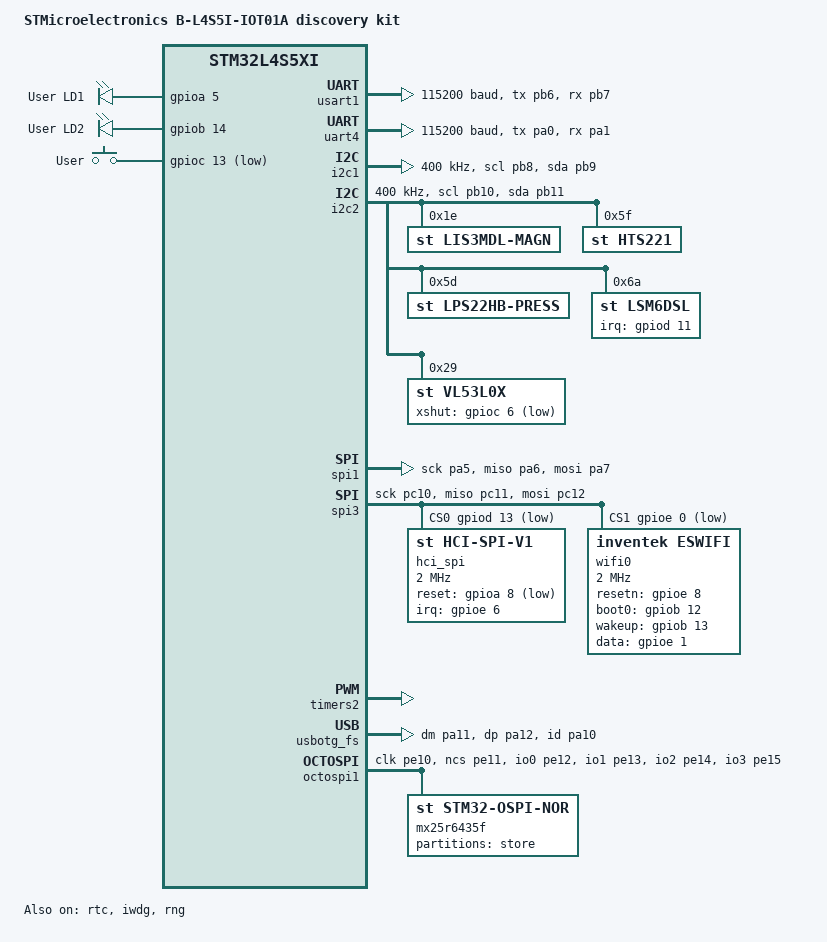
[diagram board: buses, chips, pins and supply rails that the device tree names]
/*
 * Copyright (c) 2020 STMicroelectronics
 *
 * SPDX-License-Identifier: Apache-2.0
 */

/dts-v1/;
#include <st/l4/stm32l4s5Xi.dtsi>
#include <st/l4/stm32l4s5vitx-pinctrl.dtsi>
#include "arduino_r3_connector.dtsi"
#include <zephyr/dt-bindings/input/input-event-codes.h>

/ {
	model = "STMicroelectronics B-L4S5I-IOT01A discovery kit";
	compatible = "st,b-l4s5i-iot01a";

	chosen {
		zephyr,console = &usart1;
		zephyr,shell-uart = &usart1;
		zephyr,sram = &sram0;
		zephyr,flash = &flash0;
		zephyr,code-partition = &slot0_partition;
		zephyr,flash-controller = &mx25r6435f;
		zephyr,bt-c2h-uart = &usart1;
		zephyr,bt-hci = &hci_spi;
	};

	leds {
		compatible = "gpio-leds";
		green_led_1: led_1 {
			gpios = <&gpioa 5 GPIO_ACTIVE_HIGH>;
			label = "User LD1";
		};
		green_led_2: led_2 {
			gpios = <&gpiob 14 GPIO_ACTIVE_HIGH>;
			label = "User LD2";
		};
	};

	gpio_keys {
		compatible = "gpio-keys";
		user_button: button {
			label = "User";
			gpios = <&gpioc 13 GPIO_ACTIVE_LOW>;
			zephyr,code = <INPUT_KEY_0>;
		};
	};

	aliases {
		led0 = &green_led_1;
		sw0 = &user_button;
		watchdog0 = &iwdg;
		accel0 = &lsm6dsl;
	};
};

&clk_lsi {
	status = "okay";
};

&clk_hsi48 {
	status = "okay";
};

&clk_hsi {
	status = "okay";
};

&pll {
	div-m = <4>;
	mul-n = <40>;
	div-q = <2>;
	div-r = <2>;
	clocks = <&clk_hsi>;
	status = "okay";
};

&rcc {
	clocks = <&pll>;
	clock-frequency = <DT_FREQ_M(80)>;
	ahb-prescaler = <1>;
	apb1-prescaler = <1>;
	apb2-prescaler = <1>;
};

&usart1 {
	pinctrl-0 = <&usart1_tx_pb6 &usart1_rx_pb7>;
	pinctrl-names = "default";
	current-speed = <115200>;
	status = "okay";
};

&uart4 {
	pinctrl-0 = <&uart4_tx_pa0 &uart4_rx_pa1>;
	pinctrl-names = "default";
	current-speed = <115200>;
};

&i2c1 {
	pinctrl-0 = <&i2c1_scl_pb8 &i2c1_sda_pb9>;
	pinctrl-names = "default";
	status = "okay";
	clock-frequency = <I2C_BITRATE_FAST>;
};

&i2c2 {
	pinctrl-0 = <&i2c2_scl_pb10 &i2c2_sda_pb11>;
	pinctrl-names = "default";
	status = "okay";
	clock-frequency = <I2C_BITRATE_FAST>;

	lis3mdl-magn@1e {
		compatible = "st,lis3mdl-magn";
		reg = <0x1e>;
	};

	hts221@5f {
		compatible = "st,hts221";
		reg = <0x5f>;
	};

	lps22hb-press@5d {
		compatible = "st,lps22hb-press";
		reg = <0x5d>;
	};

	lsm6dsl: lsm6dsl@6a {
		compatible = "st,lsm6dsl";
		reg = <0x6a>;
		irq-gpios = <&gpiod 11 GPIO_ACTIVE_HIGH>;
	};

	vl53l0x@29 {
		compatible = "st,vl53l0x";
		reg = <0x29>;
		xshut-gpios = <&gpioc 6 GPIO_ACTIVE_LOW>;
	};
};

&spi1 {
	pinctrl-0 = <&spi1_sck_pa5 &spi1_miso_pa6 &spi1_mosi_pa7>;
	pinctrl-names = "default";
	cs-gpios = <&gpioa 2 (GPIO_ACTIVE_LOW | GPIO_PULL_UP)>;
	status = "okay";
};

&spi3 {
	pinctrl-0 = <&spi3_sck_pc10 &spi3_miso_pc11 &spi3_mosi_pc12>;
	pinctrl-names = "default";
	status = "okay";

	cs-gpios = <&gpiod 13 GPIO_ACTIVE_LOW>,
		   <&gpioe 0 GPIO_ACTIVE_LOW>;

	hci_spi: spbtle-rf@0 {
		compatible = "st,hci-spi-v1";
		reg = <0>;
		reset-gpios = <&gpioa 8 GPIO_ACTIVE_LOW>;
		irq-gpios = <&gpioe 6 (GPIO_ACTIVE_HIGH | GPIO_PULL_DOWN)>;
		spi-max-frequency = <DT_FREQ_M(2)>;
		spi-hold-cs;
	};

	wifi0: ism43362@1 {
		compatible = "inventek,eswifi";
		spi-max-frequency = <2000000>;
		reg = <1>;
		resetn-gpios = <&gpioe 8 GPIO_ACTIVE_HIGH>;
		boot0-gpios = <&gpiob 12 GPIO_ACTIVE_HIGH>;
		wakeup-gpios = <&gpiob 13 GPIO_ACTIVE_HIGH>;
		data-gpios = <&gpioe 1 GPIO_ACTIVE_HIGH>;
	};
};

&flash0 {

	partitions {
		compatible = "fixed-partitions";
		#address-cells = <1>;
		#size-cells = <1>;

		boot_partition: partition@0 {
			label = "mcuboot";
			reg = <0x0 DT_SIZE_K(64)>;
			read-only;
		};

		slot0_partition: partition@10000 {
			label = "image-0";
			reg = <0x10000 DT_SIZE_K(976)>;
		};

		slot1_partition: partition@104000 {
			label = "image-1";
			reg = <0x104000 DT_SIZE_K(976)>;
		};

		storage_partition: partition@1f8000 {
			label = "storage";
			reg = <0x1f8000 DT_SIZE_K(32)>;
		};
	};
};

&timers2 {
	status = "okay";

	pwm2: pwm {
		status = "okay";
		pinctrl-0 = <&tim2_ch1_pa15>;
		pinctrl-names = "default";
	};
};

&rtc {
	clocks = <&rcc STM32_CLOCK_BUS_APB1 0x10000000>,
		 <&rcc STM32_SRC_LSI RTC_SEL(2)>;
	status = "okay";
};

zephyr_udc0: &usbotg_fs {
	pinctrl-0 = <&usb_otg_fs_dm_pa11 &usb_otg_fs_dp_pa12
		     &usb_otg_fs_id_pa10>;
	pinctrl-names = "default";
	status = "okay";
};

&iwdg {
	status = "okay";
};

&rng {
	status = "okay";
};

&octospi1 {
	pinctrl-0 = <&octospim_p1_clk_pe10 &octospim_p1_ncs_pe11
		     &octospim_p1_io0_pe12 &octospim_p1_io1_pe13
		     &octospim_p1_io2_pe14 &octospim_p1_io3_pe15>;
	pinctrl-names = "default";

	dmas = <&dma1 0 40 0x480>; /* request 40 for OCTOSPI1 */
	dma-names = "tx_rx";

	status = "okay";

	mx25r6435f: ospi-nor-flash@90000000 {
		compatible = "st,stm32-ospi-nor";
		reg = <0x90000000 DT_SIZE_M(8)>; /* 64 Megabits */
		ospi-max-frequency = <DT_FREQ_M(26)>; /* for Voltage Range 2 */
		spi-bus-width = <OSPI_QUAD_MODE>;
		data-rate = <OSPI_STR_TRANSFER>;
		writeoc="PP_1_4_4";

		status = "okay";

		partitions {
			compatible = "fixed-partitions";
			#address-cells = <1>;
			#size-cells = <1>;

			store_partition: partition@000 {
				label = "store";
				reg = <0x00000000 DT_SIZE_M(8)>;
			};
		};
	};
};

&dma1 {
	status = "okay";
};

&dmamux1 {
	status = "okay";
};
